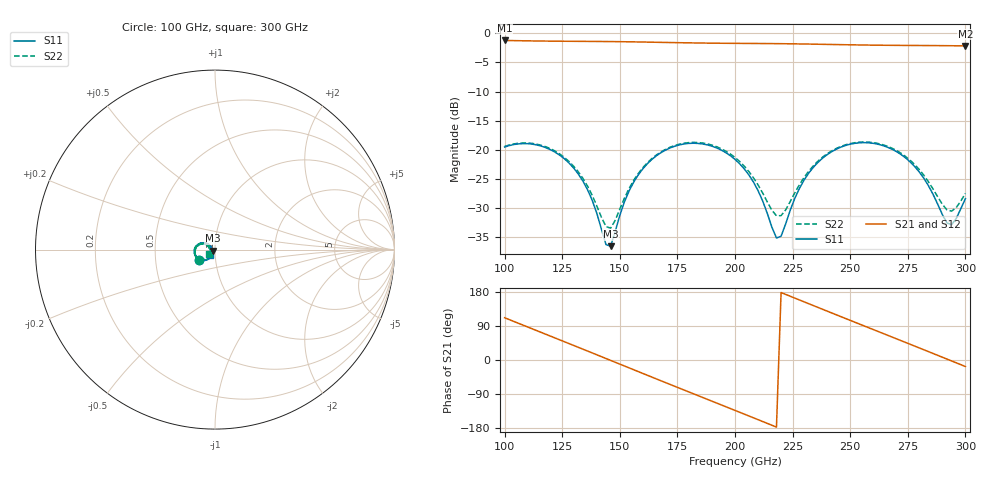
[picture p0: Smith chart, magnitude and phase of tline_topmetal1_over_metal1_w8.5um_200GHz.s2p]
#  GHZ S DB R 50
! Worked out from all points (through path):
!   101 points, 100 GHz to 300 GHz, reference 50 ohm
!   highest |S21| = -1.22 dB at 100 GHz (marker M1); lowest = -2.2 dB at 300 GHz (marker M2)
!   group delay of S21, straight-line fit = 6.79 ps
!   lowest |S11| = -36.5 dB at 146 GHz (marker M3), VSWR 1.03, Z = 48.7 - j0.6 ohm
!   |S11| at or under -10 dB: start of sweep to end of sweep
!   |S22| runs from -33.4 to -18.6 dB; largest |S21 - S12| = 9.9e-14
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100  -19.50 -148.4  -1.22 111.5  -1.22 111.5  -19.41 -146.6
116  -19.36 176.0  -1.32 72.5  -1.32 72.5  -19.21 179.2
126  -21.54 155.1  -1.35 48.1  -1.35 48.1  -21.31 159.9
134  -25.36 142.0  -1.37 28.5  -1.37 28.5  -24.89 149.2
138  -28.62 140.0  -1.39 18.7  -1.39 18.7  -27.78 149.4
144  -36.25 171.8  -1.40 3.9  -1.40 3.9  -33.16 177.9
146  -36.52 -155.6  -1.41 -1.0  -1.41 -1.0  -33.42 -160.7
156  -25.54 -120.7  -1.46 -25.6  -1.46 -25.6  -25.24 -125.3
168  -20.44 -141.2  -1.55 -55.1  -1.55 -55.1  -20.31 -141.9
184  -18.89 -174.7  -1.65 -94.1  -1.65 -94.1  -18.74 -172.9
200  -21.63 153.3  -1.72 -133.0  -1.72 -133.0  -21.30 158.4
210  -26.98 141.3  -1.74 -157.4  -1.74 -157.4  -26.01 150.8
218  -35.12 178.5  -1.77 -177.1  -1.77 -177.1  -31.31 -179.0
220  -34.81 -154.7  -1.78 178.0  -1.78 178.0  -31.28 -162.9
228  -26.57 -123.6  -1.82 158.4  -1.82 158.4  -25.94 -133.2
234  -22.99 -129.6  -1.85 143.6  -1.85 143.6  -22.73 -135.7
252  -18.87 -163.3  -1.98 99.8  -1.98 99.8  -18.76 -164.8
268  -19.85 165.2  -2.05 61.0  -2.05 61.0  -19.69 166.2
280  -23.80 146.8  -2.08 31.8  -2.08 31.8  -23.38 150.5
292  -32.53 173.2  -2.12 2.4  -2.12 2.4  -30.28 175.1
294  -32.83 -167.7  -2.13 -2.5  -2.13 -2.5  -30.51 -171.2
300  -28.37 -134.2  -2.15 -17.2  -2.15 -17.2  -27.47 -142.9
